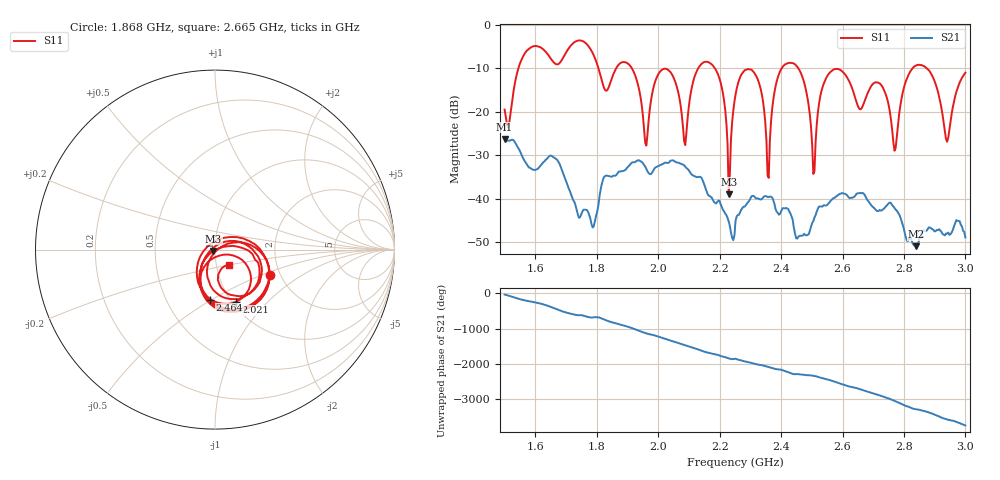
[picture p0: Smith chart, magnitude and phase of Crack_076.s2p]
# HZ S RI R 50
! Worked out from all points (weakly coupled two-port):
!   404 points, 1.5 GHz to 3 GHz, reference 50 ohm
!   highest |S21| = -26.24 dB at 1.5 GHz (marker M1); lowest = -50.9 dB at 2.84 GHz (marker M2)
!   lowest |S11| = -39.0 dB at 2.23 GHz (marker M3), VSWR 1.02, Z = 49.1 - j0.713 ohm
!   |S11| at or under -10 dB: 1.914 GHz to 2.13 GHz (215.7 MHz wide, 10.7 % of centre); 2.185 GHz to 2.402 GHz (217 MHz wide, 9.46 % of centre); 2.456 GHz to 2.828 GHz (371.4 MHz wide, 14.1 % of centre) (the widest 3 of 6)
!   S12 and S22 are empty: the file has one direction only
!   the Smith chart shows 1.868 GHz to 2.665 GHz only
!   S11 on the Smith chart (normalised r, x): 1.868 GHz: 1.77, -0.57; 2.021 GHz: 1.04, -0.67; 2.464 GHz: 0.81, -0.49; 2.665 GHz: 1.15, -0.20
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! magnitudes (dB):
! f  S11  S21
! 1.5 GHz  -19.5  -26.2
! 1.753 GHz  -3.7  -43.0
! 1.868 GHz  -9.4  -34.0
! 1.962 GHz  -27.8  -33.2
! 2.002 GHz  -11.1  -32.4
! 2.021 GHz  -10.1  -31.7
! 2.088 GHz  -27.7  -32.6
! 2.181 GHz  -9.6  -40.7
! 2.23 GHz  -39.0  -45.3
! 2.252 GHz  -16.0  -45.1
! 2.315 GHz  -11.3  -39.6
! 2.36 GHz  -35.2  -39.6
! 2.397 GHz  -10.6  -43.4
! 2.464 GHz  -11.0  -48.6
! 2.501 GHz  -27.6  -45.6
! 2.565 GHz  -10.6  -40.3
! 2.665 GHz  -18.8  -38.7
! 2.751 GHz  -18.6  -41.1
! 2.773 GHz  -28.4  -42.5
! 2.84 GHz  -9.3  -50.9
! 2.94 GHz  -26.9  -48.1
! 3 GHz  -11.0  -48.9
